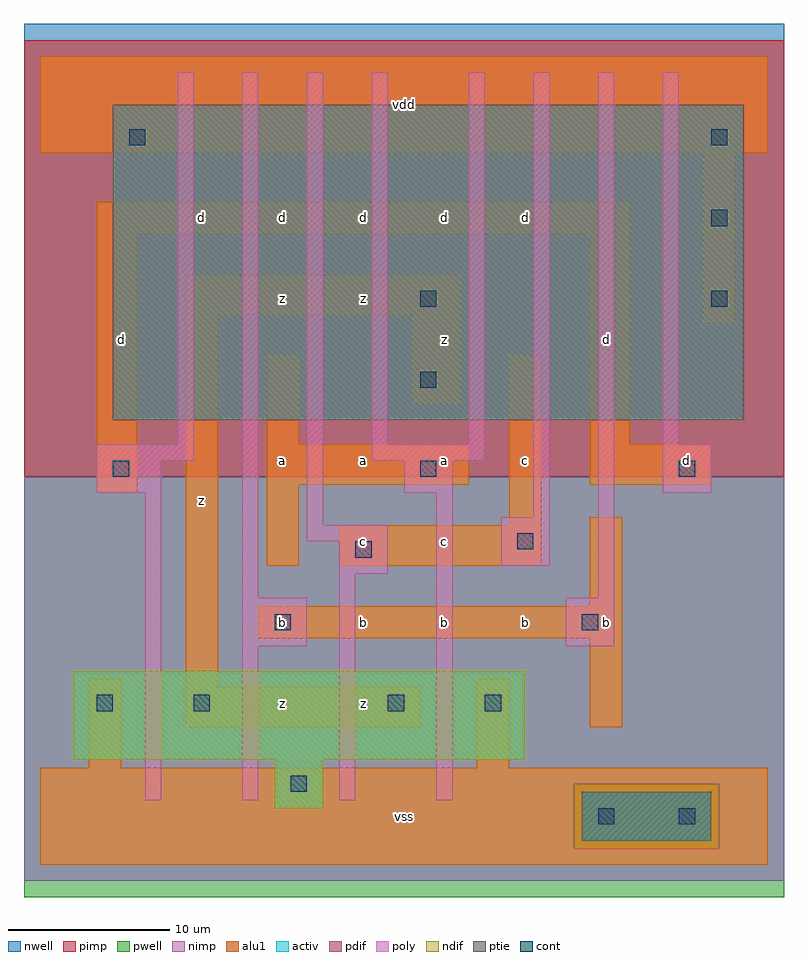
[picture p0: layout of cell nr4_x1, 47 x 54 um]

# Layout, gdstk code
import gdstk
lib = gdstk.Library(unit=1e-6, precision=1e-09)
def R(c, l, rs):  # rectangles x0, y0, x1, y1
    for r in rs: c.add(gdstk.rectangle(r[:2], r[2:], *l))
def A(c, l, x, y, w, h, nx, ny, dx, dy):  # array of equal rectangles
    R(c, l, [(x+i*dx, y+j*dy, x+i*dx+w, y+j*dy+h) for i in range(nx) for j in range(ny)])
ndif = (3, 0)
pdif = (4, 0)
ptie = (6, 0)
cont = (25, 0)
pwell = (41, 0)
nwell = (42, 0)
activ = (43, 0)
pimp = (44, 0)
nimp = (45, 0)
poly = (46, 0)
alu1 = (49, 0)

nr4_x1 = lib.new_cell('nr4_x1')
R(nr4_x1, ndif, [(14.5,3.5,17.5,6.5), (2,6.5,30,12)])
R(nr4_x1, pdif, [(4.5,27.5,43.5,47)])
R(nr4_x1, ptie, [(33.5,1.5,41.5,4.5)])
A(nr4_x1, cont, 41.5, 34.5, 1, 1, 1, 3, 0, 5)
R(nr4_x1, cont, [(34.5,2.5,35.5,3.5), (39.5,2.5,40.5,3.5), (15.5,4.5,16.5,5.5), (3.5,9.5,4.5,10.5), (9.5,9.5,10.5,10.5), (21.5,9.5,22.5,10.5), (27.5,9.5,28.5,10.5), (14.5,14.5,15.5,15.5), (33.5,14.5,34.5,15.5), (19.5,19,20.5,20), (29.5,19.5,30.5,20.5), (4.5,24,5.5,25), (23.5,24,24.5,25), (39.5,24,40.5,25), (23.5,29.5,24.5,30.5), (23.5,34.5,24.5,35.5), (5.5,44.5,6.5,45.5)])
R(nr4_x1, pwell, [(-1,-2,46,24)])
R(nr4_x1, nwell, [(-1,24,46,52)])
R(nr4_x1, activ, [(33.5,1.5,41.5,4.5), (14.5,3.5,17.5,6.5), (2,6.5,30,12), (4.5,27.5,43.5,47)])
R(nr4_x1, pimp, [(33,1,42,5), (-1,24,46,51)])
R(nr4_x1, nimp, [(-1,-1,46,1), (-1,1,33,5), (42,1,46,5), (-1,5,46,24)])
R(nr4_x1, poly, [(6.5,4,7.5,23), (12.5,4,13.5,13.5), (18.5,4,19.5,18), (24.5,4,25.5,23), (12.5,13.5,16.5,16.5), (32.5,13.5,35.5,16.5), (12.5,16.5,13.5,49), (34.5,16.5,35.5,49), (18.5,18,21.5,20), (28.5,18.5,31.5,21.5), (16.5,20,21.5,21), (16.5,21,17.5,49), (30.5,21.5,31.5,49), (3.5,23,7.5,25), (22.5,23,25.5,25), (38.5,23,41.5,26), (3.5,25,9.5,26), (20.5,25,27.5,26), (8.5,26,9.5,49), (20.5,26,21.5,49), (26.5,26,27.5,49), (38.5,26,39.5,49)])
R(nr4_x1, alu1, [(0,0,45,6), (3,6,5,11.5), (27,6,29,11.5), (9,8.5,23.5,11), (34,8.5,36,14), (9,11,11,34), (13.5,14,36,16), (34,16,36,21.5), (14,18.5,16,23.5), (18.5,18.5,31,21), (29,21,31,31.5), (3.5,23,6,39), (14,23.5,26.5,26), (34,23.5,41.5,26), (14,26,16,31.5), (34,26,36.5,39), (23,28.5,26,34), (41,33.5,43,44), (9,34,26,36.5), (3.5,39,36.5,41), (0,44,45,50)])
nr4_x1.add(gdstk.Label('d', (5,32.5), layer=49, texttype=0))
nr4_x1.add(gdstk.Label('z', (15,10), layer=49, texttype=0))
nr4_x1.add(gdstk.Label('b', (15,15), layer=49, texttype=0))
nr4_x1.add(gdstk.Label('z', (10,22.5), layer=49, texttype=0))
nr4_x1.add(gdstk.Label('a', (15,25), layer=49, texttype=0))
nr4_x1.add(gdstk.Label('z', (15,35), layer=49, texttype=0))
nr4_x1.add(gdstk.Label('d', (15,40), layer=49, texttype=0))
nr4_x1.add(gdstk.Label('d', (10,40), layer=49, texttype=0))
nr4_x1.add(gdstk.Label('vss', (22.5,3), layer=49, texttype=0))
nr4_x1.add(gdstk.Label('z', (20,10), layer=49, texttype=0))
nr4_x1.add(gdstk.Label('b', (20,15), layer=49, texttype=0))
nr4_x1.add(gdstk.Label('b', (25,15), layer=49, texttype=0))
nr4_x1.add(gdstk.Label('c', (25,20), layer=49, texttype=0))
nr4_x1.add(gdstk.Label('c', (20,20), layer=49, texttype=0))
nr4_x1.add(gdstk.Label('a', (25,25), layer=49, texttype=0))
nr4_x1.add(gdstk.Label('a', (20,25), layer=49, texttype=0))
nr4_x1.add(gdstk.Label('z', (20,35), layer=49, texttype=0))
nr4_x1.add(gdstk.Label('z', (25,32.5), layer=49, texttype=0))
nr4_x1.add(gdstk.Label('d', (25,40), layer=49, texttype=0))
nr4_x1.add(gdstk.Label('d', (20,40), layer=49, texttype=0))
nr4_x1.add(gdstk.Label('vdd', (22.5,47), layer=49, texttype=0))
nr4_x1.add(gdstk.Label('b', (35,15), layer=49, texttype=0))
nr4_x1.add(gdstk.Label('b', (30,15), layer=49, texttype=0))
nr4_x1.add(gdstk.Label('c', (30,25), layer=49, texttype=0))
nr4_x1.add(gdstk.Label('d', (35,32.5), layer=49, texttype=0))
nr4_x1.add(gdstk.Label('d', (30,40), layer=49, texttype=0))
nr4_x1.add(gdstk.Label('d', (40,25), layer=49, texttype=0))

lib.write_gds('nr4_x1.gds')
